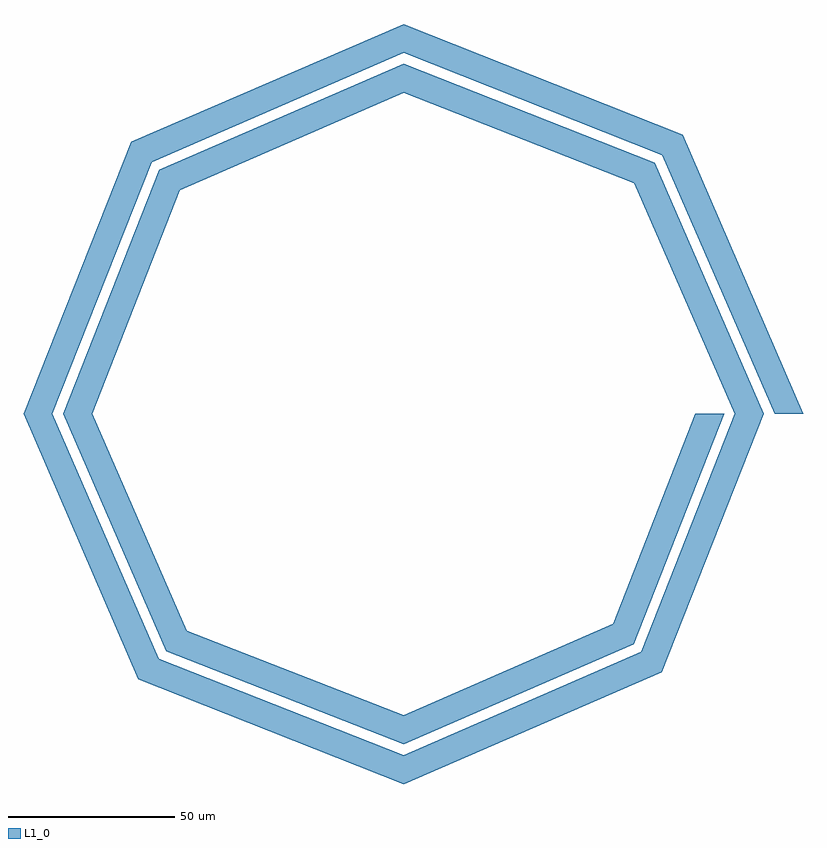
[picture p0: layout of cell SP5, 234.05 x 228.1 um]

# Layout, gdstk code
import gdstk
lib = gdstk.Library(unit=1e-6, precision=1e-09)
def P(c, l, *ps):  # polygons
    for p in ps: c.add(gdstk.Polygon(p, *l))
L1_0 = (1, 0)

sp5 = lib.new_cell('SP5')
P(sp5, L1_0, [(428.36,314.04),(394.7,391.72),(400.82,397.84),(437.02,314.04)],
  [(394.7,391.72),(317.02,422.41),(317.02,431.07),(400.82,397.84)],
  [(241.45,389.61),(235.32,395.74),(317.02,431.07),(317.02,422.41)],
  [(202.97,314.04),(235.32,395.74),(241.45,389.61),(211.63,314.04)],
  [(237.43,234.45),(202.97,314.04),(211.63,314.04),(243.55,240.57)],
  [(317.02,202.97),(237.43,234.45),(243.55,240.57),(317.02,211.63)],
  [(317.02,202.97),(317.02,211.63),(388.38,242.68),(394.5,236.56)],
  [(394.5,236.56),(388.38,242.68),(416.45,314.04),(425.11,314.04)],
  [(416.45,314.04),(386.28,383.3),(392.4,389.42),(425.11,314.04)],
  [(386.28,383.3),(317.02,410.5),(317.02,419.16),(392.4,389.42)],
  [(249.86,381.2),(243.74,387.32),(317.02,419.16),(317.02,410.5)],
  [(214.88,314.04),(243.74,387.32),(249.86,381.2),(223.54,314.04)],
  [(245.85,242.87),(214.88,314.04),(223.54,314.04),(251.97,248.99)],
  [(317.02,214.88),(245.85,242.87),(251.97,248.99),(317.02,223.54)],
  [(317.02,214.88),(317.02,223.54),(379.96,251.1),(386.09,244.97)],
  [(386.09,244.97),(379.96,251.1),(404.55,314.04),(413.21,314.04)])

lib.write_gds('SP5.gds')
